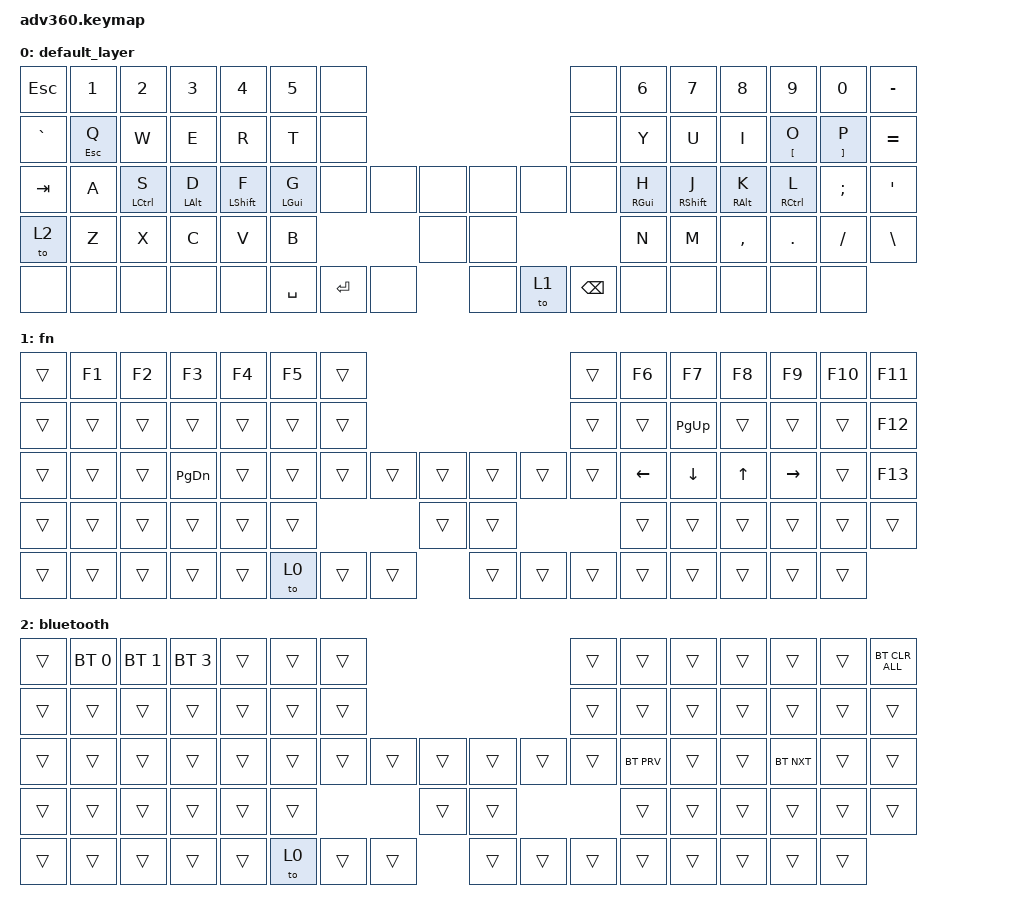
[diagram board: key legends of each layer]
#include <behaviors.dtsi>
#include <dt-bindings/zmk/keys.h>
#include <dt-bindings/zmk/bt.h>
#include <dt-bindings/zmk/rgb.h>
#include <dt-bindings/zmk/backlight.h>

/ {
    behaviors {
      #include "macros.dtsi"
      #include "version.dtsi"
      #ifndef VERSION_MACRO
      macro_ver: macro_ver {
        compatible = "zmk,behavior-macro";
        label = "macro_version";
        #binding-cells = <0>;
        bindings = <&kp RET>;
      };
      #endif

      hm: homerow_mods {
          compatible = "zmk,behavior-hold-tap";
          label = "HOMEROW_MODS";
          #binding-cells = <2>;
          tapping-term-ms = <200>;
          quick_tap_ms = <175>;
          flavor = "tap-preferred";
          bindings = <&kp>, <&kp>;
      };

      hd: hold {
          compatible = "zmk,behavior-hold-tap";
          label = "HOLD";
          #binding-cells = <2>;
          tapping-term-ms = <150>;
          quick_tap_ms = <0>;
          flavor = "tap-preferred";
          bindings = <&kp>, <&kp>;
      };

    };

  keymap {
    compatible = "zmk,keymap";

    default_layer {
      bindings = <
        &kp ESC   &kp N1    &kp N2      &kp N3      &kp N4      &kp N5     &none                                                              &none &kp N6     &kp N7       &kp N8     &kp N9      &kp N0     &kp MINUS
        &kp GRAVE &hd ESC Q &kp W       &kp E       &kp R       &kp T      &none                                                              &none &kp Y      &kp U        &kp I      &hd LBKT O  &hd RBKT P &kp EQUAL
        &kp TAB   &kp A     &hm LCTRL S &hm LALT D  &hm LSHFT F &hm LGUI G &none                  &none &none &none &none                     &none &hm RGUI H &hm RSHFT J  &hm RALT K &hm RCTRL L &kp SEMI   &kp SQT
        &to 2     &kp Z     &kp X       &kp C       &kp V       &kp B                                   &none &none                                 &kp N      &kp M        &kp COMMA  &kp DOT     &kp FSLH   &kp BSLH
        &none     &none     &none       &none       &none                           &kp SPACE &kp ENTER &none &none &to 1 &kp BSPC                  &none      &none        &none      &none       &none
      >;
    };
    fn {
      bindings = <
        &trans &kp F1 &kp F2 &kp F3    &kp F4 &kp F5 &trans                                                           &trans &kp F6   &kp F7    &kp F8 &kp F9    &kp F10 &kp F11
        &trans &trans &trans &trans    &trans &trans &trans                                                           &trans &trans   &kp PG_UP &trans &trans    &trans  &kp F12
        &trans &trans &trans &kp PG_DN &trans &trans &trans           &trans &trans &trans &trans                     &trans &kp LEFT &kp DOWN  &kp UP &kp RIGHT &trans  &kp F13
        &trans &trans &trans &trans    &trans &trans                         &trans &trans                                   &trans   &trans    &trans &trans    &trans  &trans
        &trans &trans &trans &trans    &trans                   &to 0 &trans &trans &trans &trans &trans                              &trans    &trans &trans    &trans  &trans
      >;
    };
    bluetooth {
      bindings = <
        &trans &bt BT_SEL 0 &bt BT_SEL 1 &bt BT_SEL 3 &trans &trans &trans                                           &trans &trans     &trans &trans &trans     &trans &bt BT_CLR_ALL
        &trans &trans       &trans       &trans       &trans &trans &trans                                           &trans &trans     &trans &trans &trans     &trans &trans
        &trans &trans       &trans       &trans       &trans &trans &trans        &trans &trans &trans &trans        &trans &bt BT_PRV &trans &trans &bt BT_NXT &trans &trans
        &trans &trans       &trans       &trans       &trans &trans                      &trans &trans                      &trans     &trans &trans &trans     &trans &trans
        &trans &trans       &trans       &trans       &trans                &to 0 &trans &trans &trans &trans &trans                   &trans &trans &trans     &trans &trans
      >;
    };
  };
};
